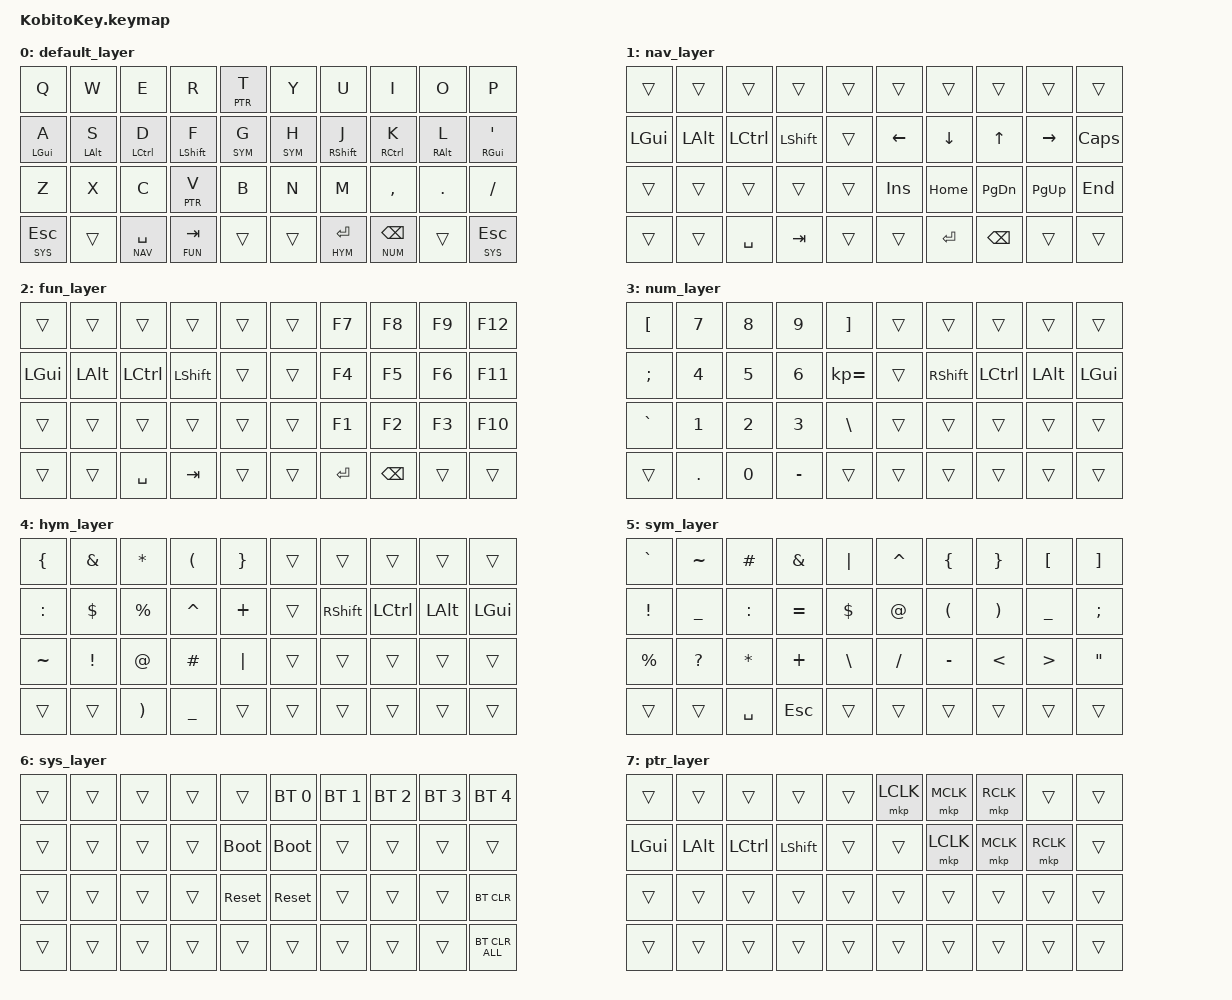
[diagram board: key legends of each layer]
#include <input/processors.dtsi>
#include <behaviors.dtsi>
#include <dt-bindings/zmk/bt.h>
#include <dt-bindings/zmk/keys.h>
#include <dt-bindings/zmk/pointing.h>

#include "zmk-helpers/helper.h"

#define DEF 0
#define NAV 1
#define FUN 2
#define NUM 3
#define HYM 4
#define SYM 5
#define SYS 6
#define PTR 7

#define XXX &none
#define ___ &trans

/*                                       KOBITOKEY

  ╭────────────────────┬────────────────────╮ ╭─────────────────────┬─────────────────────╮
  │  0   1   2   3   4 │  5   6   7   8   9 │ │ LT4 LT3 LT2 LT1 LT0 │ RT0 RT1 RT2 RT3 RT4 │
  │ 10  11  12  13  14 │ 15  16  17  18  19 │ │ LM4 LM3 LM2 LM1 LM0 │ RM0 RM1 RM2 RM3 RM4 │
  │ 20  21  22  23  24 │ 25  26  27  28  29 │ │ LB4 LB3 LB2 LB1 LB0 │ RB0 RB1 RB2 RB3 RB4 │
  │ 30  31  32  33  34 │ 35  36  37  38  39 │ │ LH4 LH3 LH2 LH1 LH0 │ RH0 RH1 RH2 RH3 RH4 │
  ╰────────────────────┴────────────────────╯ ╰─────────────────────┴─────────────────────╯     */

#pragma once

#define LT0  4  // left-top row
#define LT1  3
#define LT2  2
#define LT3  1
#define LT4  0

#define RT0  5  // right-top row
#define RT1  6
#define RT2  7
#define RT3  8
#define RT4  9

#define LM0 14  // left-middle row
#define LM1 13
#define LM2 12
#define LM3 11
#define LM4 10

#define RM0 15  // right-middle row
#define RM1 16
#define RM2 17
#define RM3 18
#define RM4 19

#define LB0 24  // left-bottom row
#define LB1 23
#define LB2 22
#define LB3 21
#define LB4 20

#define RB0 25  // right-bottom row
#define RB1 26
#define RB2 27
#define RB3 28
#define RB4 29

#define LH0 34  // left thumb keys
#define LH1 33
#define LH2 32
#define LH3 31
#define LH4 30

#define RH0 35  // right thumb keys
#define RH1 36
#define RH2 37
#define RH3 38
#define RH4 39

#define KEYS_L LT0 LT1 LT2 LT3 LT4 LM0 LM1 LM2 LM3 LM4 LB0 LB1 LB2 LB3 LB4 // left hand
#define KEYS_R RT0 RT1 RT2 RT3 RT4 RM0 RM1 RM2 RM3 RM4 RB0 RB1 RB2 RB3 RB4 // right hand
#define THUMBS LH4 LH3 LH2 LH1 LH0 RH0 RH1 RH2 RH3 RH4                     // thumbs

/* Timeless homerow mods */

/* Left-hand HRMs. */
ZMK_HOLD_TAP(hml,
    flavor = "balanced";
    tapping-term-ms = <280>;
    quick-tap-ms = <175>;
    require-prior-idle-ms = <100>;
    bindings = <&kp>, <&kp>;
    hold-trigger-key-positions = <KEYS_R THUMBS>;
    hold-trigger-on-release;
)

/* Right-hand HRMs. */
ZMK_HOLD_TAP(hmr,
    flavor = "balanced";
    tapping-term-ms = <280>;
    quick-tap-ms = <175>;
    require-prior-idle-ms = <100>;
    bindings = <&kp>, <&kp>;
    hold-trigger-key-positions = <KEYS_L THUMBS>;
    hold-trigger-on-release;
)

/* Custom behaviors */

// combos
ZMK_COMBO(word_del,  &kp LC(BSPC),  RT2 RT3, DEF)
ZMK_COMBO(caps_wrd,  &caps_word  ,  LT2 RT2, DEF)
ZMK_COMBO(esc_we  ,  &kp ESC     ,  LT3 LT2, DEF)


/* Keymap */

ZMK_LAYER(default_layer,
//╭─────────────┬─────────────┬─────────────┬─────────────┬─────────────╮       ╭─────────────┬─────────────┬─────────────┬─────────────┬─────────────╮
    &kp Q         &kp W         &kp E         &kp R         &lt PTR T             &kp Y         &kp U         &kp I         &kp O         &kp P
//├─────────────┼─────────────┼─────────────┼─────────────┼─────────────┤       ├─────────────┼─────────────┼─────────────┼─────────────┼─────────────┤
    &hml LGUI A   &hml LALT S   &hml LCTRL D  &hml LSHFT F  &lt SYM G             &lt SYM H     &hmr RSHFT J  &hmr RCTRL K  &hmr RALT L   &hmr RGUI SQT
//├─────────────┼─────────────┼─────────────┼─────────────┼─────────────┤       ├─────────────┼─────────────┼─────────────┼─────────────┼─────────────┤
    &kp Z         &kp X         &kp C         &lt PTR V     &kp B                 &kp N         &kp M         &kp COMMA     &kp DOT       &kp SLASH
//├─────────────┼─────────────┴─────────────┴─────────────┼─────────────┤       ├─────────────┼─────────────┴─────────────┴─────────────┼─────────────┤
    &lt SYS ESC   ___           &lt NAV SPACE &lt FUN TAB   ___                   ___           &lt HYM ENTER &lt NUM BSPC  ___           &lt SYS ESC
//╰─────────────┴─────────────┴─────────────┴─────────────┴─────────────╯       ╰─────────────┴─────────────┴─────────────┴─────────────┴─────────────╯
)

ZMK_LAYER(nav_layer,
//╭─────────────┬─────────────┬─────────────┬─────────────┬─────────────╮       ╭─────────────┬─────────────┬─────────────┬─────────────┬─────────────╮
    ___           ___           ___           ___           ___                   ___           ___           ___           ___           ___
//├─────────────┼─────────────┼─────────────┼─────────────┼─────────────┤       ├─────────────┼─────────────┼─────────────┼─────────────┼─────────────┤
    &kp LGUI      &kp LALT      &kp LCTRL     &kp LSHFT     ___                   &kp LEFT      &kp DOWN      &kp UP        &kp RIGHT     &kp CLCK
//├─────────────┼─────────────┼─────────────┼─────────────┼─────────────┤       ├─────────────┼─────────────┼─────────────┼─────────────┼─────────────┤
    ___           ___           ___           ___           ___                   &kp INS       &kp HOME      &kp PG_DN     &kp PG_UP     &kp END
//├─────────────┼─────────────┴─────────────┴─────────────┼─────────────┤       ├─────────────┼─────────────┴─────────────┴─────────────┼─────────────┤
    ___           ___           &kp SPACE     &kp TAB       ___                   ___           &kp ENTER     &kp BSPC      ___           ___
//╰─────────────┴─────────────┴─────────────┴─────────────┴─────────────╯       ╰─────────────┴─────────────┴─────────────┴─────────────┴─────────────╯
)

ZMK_LAYER(fun_layer,

//╭─────────────┬─────────────┬─────────────┬─────────────┬─────────────╮       ╭─────────────┬─────────────┬─────────────┬─────────────┬─────────────╮
    ___           ___           ___           ___           ___                   ___           &kp F7        &kp F8        &kp F9        &kp F12
//├─────────────┼─────────────┼─────────────┼─────────────┼─────────────┤       ├─────────────┼─────────────┼─────────────┼─────────────┼─────────────┤
    &kp LGUI      &kp LALT      &kp LCTRL     &kp LSHFT     ___                   ___           &kp F4        &kp F5        &kp F6        &kp F11
//├─────────────┼─────────────┼─────────────┼─────────────┼─────────────┤       ├─────────────┼─────────────┼─────────────┼─────────────┼─────────────┤
    ___           ___           ___           ___           ___                   ___           &kp F1        &kp F2        &kp F3        &kp F10
//├─────────────┼─────────────┴─────────────┴─────────────┼─────────────┤       ├─────────────┼─────────────┴─────────────┴─────────────┼─────────────┤
    ___           ___           &kp SPACE     &kp TAB       ___                   ___           &kp ENTER     &kp BSPC      ___           ___
//╰─────────────┴─────────────┴─────────────┴─────────────┴─────────────╯       ╰─────────────┴─────────────┴─────────────┴─────────────┴─────────────╯
)


ZMK_LAYER(num_layer,
//╭─────────────┬─────────────┬─────────────┬─────────────┬─────────────╮       ╭─────────────┬─────────────┬─────────────┬─────────────┬─────────────╮
    &kp LBKT      &kp N7        &kp N8        &kp N9        &kp RBKT              ___           ___           ___           ___           ___
//├─────────────┼─────────────┼─────────────┼─────────────┼─────────────┤       ├─────────────┼─────────────┼─────────────┼─────────────┼─────────────┤
    &kp SEMI      &kp N4        &kp N5        &kp N6        &kp KP_EQUAL          ___           &kp RSHFT     &kp LCTRL     &kp LALT      &kp LGUI
//├─────────────┼─────────────┼─────────────┼─────────────┼─────────────┤       ├─────────────┼─────────────┼─────────────┼─────────────┼─────────────┤
    &kp GRAVE     &kp N1        &kp N2        &kp N3        &kp BSLH              ___           ___           ___           ___           ___
//├─────────────┼─────────────┴─────────────┴─────────────┼─────────────┤       ├─────────────┼─────────────┴─────────────┴─────────────┼─────────────┤
    ___           &kp DOT       &kp N0        &kp MINUS     ___                   ___           ___           ___           ___           ___
//╰─────────────┴─────────────┴─────────────┴─────────────┴─────────────╯       ╰─────────────┴─────────────┴─────────────┴─────────────┴─────────────╯
)


ZMK_LAYER(hym_layer,
//╭─────────────┬─────────────┬─────────────┬─────────────┬─────────────╮       ╭─────────────┬─────────────┬─────────────┬─────────────┬─────────────╮
    &kp LBRC      &kp AMPS      &kp ASTRK     &kp LPAR      &kp RBRC              ___           ___           ___           ___           ___
//├─────────────┼─────────────┼─────────────┼─────────────┼─────────────┤       ├─────────────┼─────────────┼─────────────┼─────────────┼─────────────┤
    &kp COLON     &kp DLLR      &kp PRCNT     &kp CARET     &kp PLUS              ___           &kp RSHFT     &kp LCTRL     &kp LALT      &kp LGUI
//├─────────────┼─────────────┼─────────────┼─────────────┼─────────────┤       ├─────────────┼─────────────┼─────────────┼─────────────┼─────────────┤
    &kp TILDE     &kp EXCL      &kp AT        &kp HASH      &kp PIPE              ___           ___           ___           ___           ___
//├─────────────┼─────────────┴─────────────┴─────────────┼─────────────┤       ├─────────────┼─────────────┴─────────────┴─────────────┼─────────────┤
    ___           ___           &kp RPAR      &kp UNDER     ___                   ___           ___           ___           ___           ___
//╰─────────────┴─────────────┴─────────────┴─────────────┴─────────────╯       ╰─────────────┴─────────────┴─────────────┴─────────────┴─────────────╯
)


ZMK_LAYER(sym_layer,
//╭─────────────┬─────────────┬─────────────┬─────────────┬─────────────╮       ╭─────────────┬─────────────┬─────────────┬─────────────┬─────────────╮
    &kp GRAVE     &kp TILDE     &kp HASH      &kp AMPS      &kp PIPE              &kp CARET     &kp LBRC      &kp RBRC      &kp LBKT      &kp RBKT
//├─────────────┼─────────────┼─────────────┼─────────────┼─────────────┤       ├─────────────┼─────────────┼─────────────┼─────────────┼─────────────┤
    &kp EXCL      &kp UNDER     &kp COLON     &kp EQUAL     &kp DLLR              &kp AT        &kp LPAR      &kp RPAR      &kp UNDER     &kp SEMI
//├─────────────┼─────────────┼─────────────┼─────────────┼─────────────┤       ├─────────────┼─────────────┼─────────────┼─────────────┼─────────────┤
    &kp PRCNT     &kp QMARK     &kp ASTRK     &kp PLUS      &kp BSLH              &kp FSLH      &kp MINUS     &kp LT        &kp GT        &kp DQT
//├─────────────┼─────────────┴─────────────┴─────────────┼─────────────┤       ├─────────────┼─────────────┴─────────────┴─────────────┼─────────────┤
    ___           ___           &kp SPACE     &kp ESC       ___                   ___           ___           ___           ___           ___
//╰─────────────┴─────────────┴─────────────┴─────────────┴─────────────╯       ╰─────────────┴─────────────┴─────────────┴─────────────┴─────────────╯
)


ZMK_LAYER(sys_layer,
//╭─────────────┬─────────────┬─────────────┬─────────────┬─────────────╮       ╭─────────────┬─────────────┬─────────────┬─────────────┬─────────────╮
    ___           ___           ___           ___           ___                   &bt BT_SEL 0  &bt BT_SEL 1  &bt BT_SEL 2  &bt BT_SEL 3  &bt BT_SEL 4
//├─────────────┼─────────────┼─────────────┼─────────────┼─────────────┤       ├─────────────┼─────────────┼─────────────┼─────────────┼─────────────┤
    ___           ___           ___           ___           &bootloader           &bootloader   ___           ___           ___           ___
//├─────────────┼─────────────┼─────────────┼─────────────┼─────────────┤       ├─────────────┼─────────────┼─────────────┼─────────────┼─────────────┤
    ___           ___           ___           ___           &sys_reset            &sys_reset    ___           ___           ___           &bt BT_CLR
//├─────────────┼─────────────┴─────────────┴─────────────┼─────────────┤       ├─────────────┼─────────────┴─────────────┴─────────────┼─────────────┤
    ___           ___           ___           ___           ___                   ___           ___           ___           ___           &bt BT_CLR_ALL
//╰─────────────┴─────────────┴─────────────┴─────────────┴─────────────╯       ╰─────────────┴─────────────┴─────────────┴─────────────┴─────────────╯
)

ZMK_LAYER(ptr_layer,
//╭─────────────┬─────────────┬─────────────┬─────────────┬─────────────╮       ╭─────────────┬─────────────┬─────────────┬─────────────┬─────────────╮
    ___           ___           ___           ___           ___                   &mkp LCLK     &mkp MCLK     &mkp RCLK     ___           ___
//├─────────────┼─────────────┼─────────────┼─────────────┼─────────────┤       ├─────────────┼─────────────┼─────────────┼─────────────┼─────────────┤
    &kp LGUI      &kp LALT      &kp LCTRL     &kp LSHFT     ___                   ___           &mkp LCLK     &mkp MCLK     &mkp RCLK     ___
//├─────────────┼─────────────┼─────────────┼─────────────┼─────────────┤       ├─────────────┼─────────────┼─────────────┼─────────────┼─────────────┤
    ___           ___           ___           ___           ___                   ___           ___           ___           ___           ___
//├─────────────┼─────────────┴─────────────┴─────────────┼─────────────┤       ├─────────────┼─────────────┴─────────────┴─────────────┼─────────────┤
    ___           ___           ___           ___           ___                   ___           ___           ___           ___           ___
//╰─────────────┴─────────────┴─────────────┴─────────────┴─────────────╯       ╰─────────────┴─────────────┴─────────────┴─────────────┴─────────────╯
)
